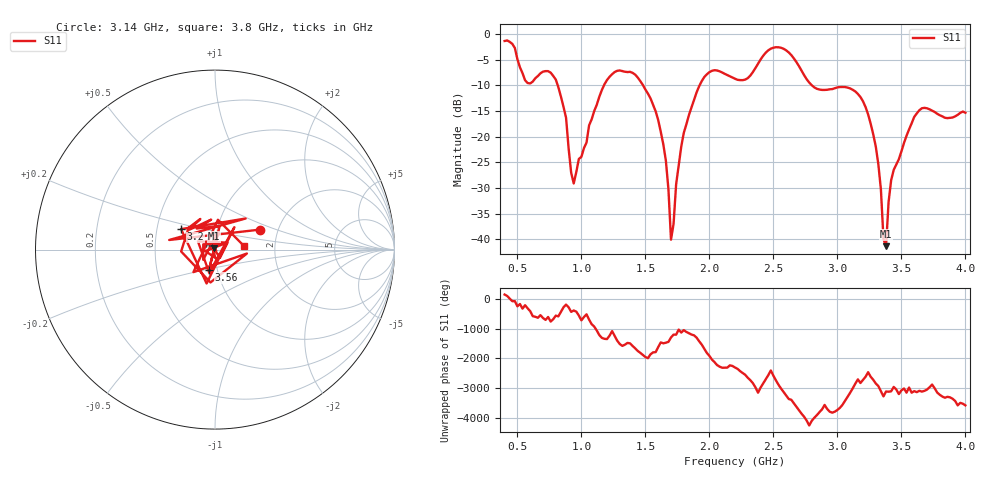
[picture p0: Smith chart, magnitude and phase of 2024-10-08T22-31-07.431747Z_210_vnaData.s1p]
! Created with skrf (http://scikit-rf.org).
# Hz S RI R 50.0
!freq ReS11 ImS11
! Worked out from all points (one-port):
!   181 points, 400 MHz to 4 GHz, reference 50 ohm
!   lowest |S11| = -41.4 dB at 3.38 GHz (marker M1), VSWR 1.02, Z = 49.6 + j0.737 ohm
!   |S11| at or under -10 dB: 815 MHz to 1.176 GHz (361.3 MHz wide, 36.3 % of centre); 1.482 GHz to 1.923 GHz (441.4 MHz wide, 25.9 % of centre); 2.801 GHz to end of sweep
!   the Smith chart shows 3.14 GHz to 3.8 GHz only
!   S11 on the Smith chart (normalised r, x): 3.14 GHz: 1.62, +0.39; 3.2 GHz: 0.67, +0.16; 3.56 GHz: 0.91, -0.21; 3.8 GHz: 1.38, +0.06
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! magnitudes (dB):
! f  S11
! 400 MHz  -1.4
! 580 MHz  -9.5
! 760 MHz  -7.5
! 860 MHz  -14.2
! 940 MHz  -29.1
! 1.16 GHz  -10.9
! 1.3 GHz  -7.1
! 1.58 GHz  -15.1
! 1.66 GHz  -24.7
! 1.7 GHz  -40.1
! 1.76 GHz  -25.6
! 1.96 GHz  -8.4
! 2.2 GHz  -8.7
! 2.5 GHz  -2.7
! 2.66 GHz  -4.8
! 2.84 GHz  -10.7
! 3.1 GHz  -10.6
! 3.14 GHz  -11.2
! 3.2 GHz  -13.1
! 3.3 GHz  -21.9
! 3.34 GHz  -30.3
! 3.36 GHz  -40.0
! 3.38 GHz  -41.4
! 3.42 GHz  -28.5
! 3.56 GHz  -18.6
! 3.66 GHz  -14.5
! 3.8 GHz  -15.8
! 4 GHz  -15.3
